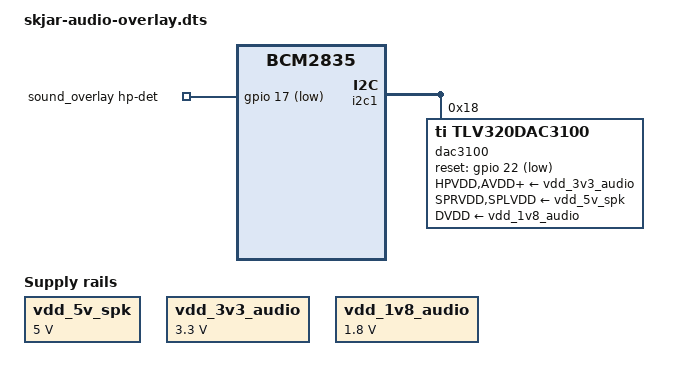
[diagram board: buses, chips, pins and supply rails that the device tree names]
// SKJAR audio: TLV320DAC3100 on I2C1 (0x18) and I2S (GPIO18/19/21)
//
// Build and install (on the CM0):
//   dtc -@ -I dts -O dtb -o skjar-audio.dtbo skjar-audio-overlay.dts
//   sudo cp skjar-audio.dtbo /boot/firmware/overlays/
//
// config.txt:
//   dtparam=i2c_arm=on
//   dtparam=i2s=on
//   dtparam=audio=off
//   dtoverlay=skjar-audio
//
// A 12 MHz oscillator (Y402) drives MCLK and the codec is the I2S clock
// master; the Pi only receives BCLK and LRCLK. simple-audio-card calls
// set_sysclk() with clk_id 0 (MCLK), which is what this setup needs, so
// the stock tlv320aic31xx driver works as is. See README.md.
//
// GPIO17 (HP_DET) is low when a plug is inserted. GPIO22 is the codec
// reset (active low).

/dts-v1/;
/plugin/;

/ {
	compatible = "brcm,bcm2835";

	// I2S, codec drives BCLK and LRCLK
	fragment@0 {
		target = <&i2s_clk_consumer>;
		__overlay__ {
			status = "okay";
		};
	};

	// Fixed supplies (all always on)
	fragment@1 {
		target-path = "/";
		__overlay__ {
			vdd_5v_spk: skjar-audio-5v {
				compatible = "regulator-fixed";
				regulator-name = "skjar-spkvdd";
				regulator-min-microvolt = <5000000>;
				regulator-max-microvolt = <5000000>;
				regulator-always-on;
			};

			vdd_3v3_audio: skjar-audio-3v3 {
				compatible = "regulator-fixed";
				regulator-name = "skjar-avdd";
				regulator-min-microvolt = <3300000>;
				regulator-max-microvolt = <3300000>;
				regulator-always-on;
			};

			vdd_1v8_audio: skjar-audio-1v8 {
				compatible = "regulator-fixed";
				regulator-name = "skjar-dvdd";
				regulator-min-microvolt = <1800000>;
				regulator-max-microvolt = <1800000>;
				regulator-always-on;
			};
		};
	};

	// Codec on I2C1 (PCF8563 at 0x51 is added by i2c-rtc,pcf8563)
	fragment@2 {
		target = <&i2c1>;
		__overlay__ {
			#address-cells = <1>;
			#size-cells = <0>;
			status = "okay";

			dac3100: codec@18 {
				compatible = "ti,tlv320dac3100";
				reg = <0x18>;
				#sound-dai-cells = <0>;
				reset-gpios = <&gpio 22 1>;	// GPIO_ACTIVE_LOW

				HPVDD-supply = <&vdd_3v3_audio>;
				SPRVDD-supply = <&vdd_5v_spk>;
				SPLVDD-supply = <&vdd_5v_spk>;
				AVDD-supply = <&vdd_3v3_audio>;
				IOVDD-supply = <&vdd_3v3_audio>;
				DVDD-supply = <&vdd_1v8_audio>;

				status = "okay";
			};
		};
	};

	// HP_DET: input, internal pull off (the default pull-down on
	// GPIO17 would fight the 100k board pull-up)
	fragment@3 {
		target = <&gpio>;
		__overlay__ {
			skjar_audio_pins: skjar_audio_pins {
				brcm,pins = <17>;
				brcm,function = <0>;	// input
				brcm,pull = <0>;	// none
			};
		};
	};

	fragment@4 {
		target = <&sound>;
		sound_overlay: __overlay__ {
			compatible = "simple-audio-card";
			simple-audio-card,name = "skjar";
			simple-audio-card,format = "i2s";
			simple-audio-card,bitclock-master = <&codec_dai>;
			simple-audio-card,frame-master = <&codec_dai>;

			pinctrl-names = "default";
			pinctrl-0 = <&skjar_audio_pins>;

			// Creates the "Headphones Jack" control and enables
			// the Headphones pin only while a plug is in
			simple-audio-card,hp-det-gpios = <&gpio 17 1>;	// active low

			simple-audio-card,widgets =
				"Headphone", "Headphones",
				"Speaker", "Internal Speaker";
			simple-audio-card,routing =
				"Headphones", "HPL",
				"Headphones", "HPR",
				"Internal Speaker", "SPK";
			// "Internal Speaker Switch", muted from userspace
			// while "Headphones Jack" is on
			simple-audio-card,pin-switches = "Internal Speaker";

			status = "okay";

			simple-audio-card,cpu {
				sound-dai = <&i2s_clk_consumer>;
			};

			// MCLK from Y402. No mclk-fs: the rate is fixed and
			// the driver picks its PLL settings from this value.
			codec_dai: simple-audio-card,codec {
				sound-dai = <&dac3100>;
				system-clock-frequency = <12000000>;
			};
		};
	};

	__overrides__ {
		card-name = <&sound_overlay>, "simple-audio-card,name";
	};
};
